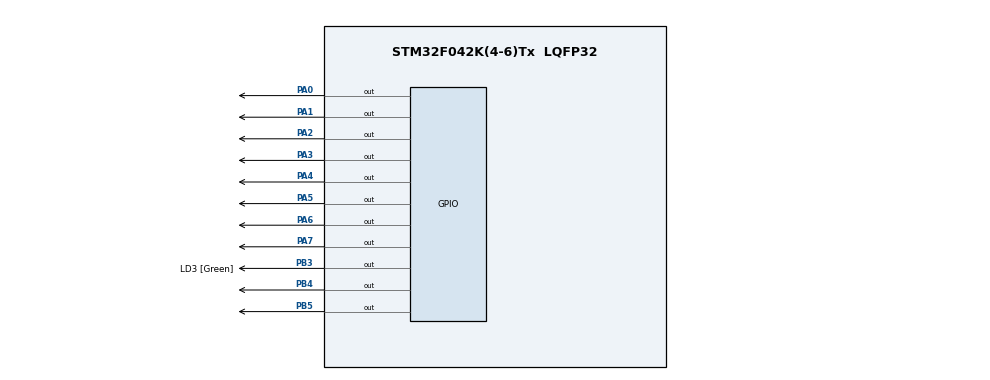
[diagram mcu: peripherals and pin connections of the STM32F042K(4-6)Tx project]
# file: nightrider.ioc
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Mcu.Family=STM32F0
Mcu.Name=STM32F042K(4-6)Tx
Mcu.Package=LQFP32
NVIC.RTC_IRQn=true\:0\:0\:false\:false\:true\:true\:true
PA0.Signal=GPIO_Output
PA1.Signal=GPIO_Output
PA13.GPIO_Label=SWDIO
PA13.Mode=Serial_Wire
PA13.Signal=SYS_SWDIO
PA14.GPIO_Label=SWCLK
PA14.Mode=Serial_Wire
PA14.Signal=SYS_SWCLK
PA2.Signal=GPIO_Output
PA3.Signal=GPIO_Output
PA4.Signal=GPIO_Output
PA5.Signal=GPIO_Output
PA6.Signal=GPIO_Output
PA7.Signal=GPIO_Output
PB3.GPIO_Label=LD3 [Green]
PB3.Signal=GPIO_Output
PB4.Signal=GPIO_Output
PB5.Signal=GPIO_Output
PF0-OSC_IN.GPIO_Label=MCO
PF0-OSC_IN.Mode=HSE-External-Clock-Source
PF0-OSC_IN.Signal=RCC_OSC_IN
ProjectManager.HeapSize=0x200
ProjectManager.StackSize=0x400
ProjectManager.TargetToolchain=Makefile
RTC.Alarm=RTC_ALARM_A
VP_RTC_VS_RTC_Activate.Mode=RTC_Enabled
VP_RTC_VS_RTC_Alarm_A_Intern.Mode=Alarm A
VP_RTC_VS_RTC_Calendar.Mode=RTC_Calendar
board=NUCLEO-F042K6

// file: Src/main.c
/* USER CODE BEGIN Header */
/**
  ******************************************************************************
  * @file           : main.c
  * @brief          : Main program body
  ******************************************************************************
  * @attention
  *
  * <h2><center>&copy; Copyright (c) 2019 STMicroelectronics.
  * All rights reserved.</center></h2>
  *
  * This software component is licensed by ST under BSD 3-Clause license,
  * the "License"; You may not use this file except in compliance with the
  * License. You may obtain a copy of the License at:
  *                        opensource.org/licenses/BSD-3-Clause
  *
  ******************************************************************************
  */
/* USER CODE END Header */

#include "main.h"

/* USER CODE BEGIN Includes */
#include <math.h>
/* USER CODE END Includes */

RTC_HandleTypeDef hrtc;

void SystemClock_Config(void);
static void MX_GPIO_Init(void);
static void MX_RTC_Init(void);

/* USER CODE BEGIN 0 */
RTC_TimeTypeDef sTime;
RTC_DateTypeDef sDate;
RTC_AlarmTypeDef sAlarm;

RTC_TimeTypeDef stampTime;
RTC_DateTypeDef stampDate;

#define NUM_LEDS 10

GPIO_TypeDef *ports[NUM_LEDS] = {
  GPIOA,
  GPIOA,
  GPIOA,
  GPIOA,
  GPIOA,
  GPIOA,
  GPIOA,
  GPIOA,
  GPIOB,
  GPIOB
};

uint16_t pins[NUM_LEDS] = {
  GPIO_PIN_0,
  GPIO_PIN_1,
  GPIO_PIN_3,
  GPIO_PIN_4,
  GPIO_PIN_5,
  GPIO_PIN_6,
  GPIO_PIN_7,
  GPIO_PIN_2,
  GPIO_PIN_4,
  GPIO_PIN_5
};

uint16_t waits[NUM_LEDS];

uint16_t wait = 100;
int direction = 1;

void low(GPIO_TypeDef *port, uint16_t pin) {
  HAL_GPIO_WritePin(port, pin, 0);
  // HAL_Delay(200);
}

void high(GPIO_TypeDef *port, uint16_t pin) {
  HAL_GPIO_WritePin(port, pin, 1);
  // HAL_Delay(200);
}

void blink(GPIO_TypeDef *port, uint16_t pin, uint16_t time) {
  high(port, pin);
  HAL_Delay(time);
  low(port, pin);
}

void getDateTime(void) {
  __disable_irq();
  HAL_RTC_GetTime(&hrtc, &sTime, RTC_FORMAT_BCD);
  HAL_RTC_GetDate(&hrtc, &sDate, RTC_FORMAT_BCD);
  __enable_irq();
}

void setDateTime(void) {
  __disable_irq();
  sTime.Hours = 0x0;
  sTime.Minutes = 0x0;
  sTime.Seconds = 0x0;
  sTime.DayLightSaving = RTC_DAYLIGHTSAVING_NONE;
  sTime.StoreOperation = RTC_STOREOPERATION_RESET;
  if (HAL_RTC_SetTime(&hrtc, &sTime, RTC_FORMAT_BCD) != HAL_OK)
  {
    Error_Handler();
  }
  sDate.WeekDay = RTC_WEEKDAY_MONDAY;
  sDate.Month = RTC_MONTH_JANUARY;
  sDate.Date = 0x1;
  sDate.Year = 0x0;

  if (HAL_RTC_SetDate(&hrtc, &sDate, RTC_FORMAT_BCD) != HAL_OK)
  {
    Error_Handler();
  }
  __enable_irq();
}

void setAlarm(uint8_t minutes) {
  setDateTime();
  sAlarm.AlarmTime.Hours = 0x0;
  sAlarm.AlarmTime.Minutes = 0x0;//minutes;
  sAlarm.AlarmTime.Seconds = 5;
  sAlarm.AlarmTime.SubSeconds = 0x0;
  sAlarm.AlarmTime.DayLightSaving = RTC_DAYLIGHTSAVING_NONE;
  sAlarm.AlarmTime.StoreOperation = RTC_STOREOPERATION_RESET;
  sAlarm.AlarmMask = RTC_ALARMMASK_NONE;
  sAlarm.AlarmSubSecondMask = RTC_ALARMSUBSECONDMASK_ALL;
  sAlarm.AlarmDateWeekDaySel = RTC_ALARMDATEWEEKDAYSEL_DATE;
  sAlarm.AlarmDateWeekDay = 0x1;
  sAlarm.Alarm = RTC_ALARM_A;
  if (HAL_RTC_SetAlarm_IT(&hrtc, &sAlarm, RTC_FORMAT_BCD) != HAL_OK)
  {
    Error_Handler();
  }
}

void enterStandbyMode(void)
{
	/* Enable Power Peripheral */
	__HAL_RCC_PWR_CLK_ENABLE();

	/* Enter STANDBY mode */
	HAL_PWR_EnterSTANDBYMode();
}

#define ea_clock_pin GPIO_PIN_6
#define ea_data_pin GPIO_PIN_5
#define ea_data_port GPIOA
#define latch_time 10

void shiftData(uint8_t data) {
  low(ea_data_port, ea_clock_pin);
  low(ea_data_port, ea_data_pin);

  for(uint8_t ii=7;ii!=0xff;ii--) {
    low(ea_data_port, ea_clock_pin);
    if(data & (1<<ii)) {
      high(ea_data_port, ea_data_pin);
    }
    else {
      low(ea_data_port, ea_data_pin);
    }

    high(ea_data_port, ea_clock_pin);
    // HAL_Delay(latch_time);
    low(ea_data_port, ea_data_pin);
  }
  low(ea_data_port, ea_clock_pin);
  // low(data_port, ea_data_pin);
}

/* USER CODE END 0 */

int main(void)
{
  /* USER CODE BEGIN 1 */
  // calculate the wait times for leds
  // this looks good. perhaps when there are more than 10 leds
  // we will want to lock these values here. keep the middle > 10 at the basement (5,6)
  uint offset = 1;
  for(uint ii=1;ii<=(NUM_LEDS/2);ii++) {
    uint qq = ii + (NUM_LEDS/2)-1;
    waits[qq] = (2 + ceil(2.5 * log10(ii))) * 25;
    waits[qq-offset] = waits[qq];
    offset = offset + 2;
  }
  /* USER CODE END 1 */

  /* MCU Configuration--------------------------------------------------------*/

  /* Reset of all peripherals, Initializes the Flash interface and the Systick. */
  HAL_Init();

  /* Configure the system clock */
  SystemClock_Config();

  /* Initialize all configured peripherals */
  MX_GPIO_Init();
  MX_RTC_Init();
  /* USER CODE BEGIN 2 */

	if(__HAL_PWR_GET_FLAG(PWR_FLAG_SB))
	{
		__HAL_PWR_CLEAR_FLAG(PWR_FLAG_WU | PWR_FLAG_SB);
	}

  /* USER CODE END 2 */

  /* Infinite loop */
  /* USER CODE BEGIN WHILE */
  uint8_t data = 1;
  uint8_t left = 1;
  while (1)
  {
    if(data == 0x80) {
      left = 0;
    }
    if(data == 0x01) {
      left = 1;
    }
    // shiftData((data && 0xff00) >> 8);
    shiftData(data);
    if(left == 1) {
      data = data << 1;
    } else {
      data = data >> 1;
    }
    HAL_Delay(500);
    // for(uint ii=0;ii<NUM_LEDS;ii++) {
    //   blink(ports[ii], pins[ii], waits[ii]);
    // }
    // for (int ii = (NUM_LEDS-1); ii >= 0; ii--)
    // {
    //   blink(ports[ii], pins[ii], waits[ii]);
    // }
    // setAlarm(1);
    // enterStandbyMode();
    /* USER CODE END WHILE */

  }
}

void SystemClock_Config(void)
{
  RCC_OscInitTypeDef RCC_OscInitStruct = {0};
  RCC_ClkInitTypeDef RCC_ClkInitStruct = {0};
  RCC_PeriphCLKInitTypeDef PeriphClkInit = {0};

  /** Initializes the CPU, AHB and APB busses clocks
  */
  RCC_OscInitStruct.OscillatorType = RCC_OSCILLATORTYPE_HSI|RCC_OSCILLATORTYPE_LSI;
  RCC_OscInitStruct.HSIState = RCC_HSI_ON;
  RCC_OscInitStruct.HSICalibrationValue = RCC_HSICALIBRATION_DEFAULT;
  RCC_OscInitStruct.LSIState = RCC_LSI_ON;
  RCC_OscInitStruct.PLL.PLLState = RCC_PLL_NONE;
  if (HAL_RCC_OscConfig(&RCC_OscInitStruct) != HAL_OK)
  {
    Error_Handler();
  }
  /** Initializes the CPU, AHB and APB busses clocks
  */
  RCC_ClkInitStruct.ClockType = RCC_CLOCKTYPE_HCLK|RCC_CLOCKTYPE_SYSCLK
                              |RCC_CLOCKTYPE_PCLK1;
  RCC_ClkInitStruct.SYSCLKSource = RCC_SYSCLKSOURCE_HSI;
  RCC_ClkInitStruct.AHBCLKDivider = RCC_SYSCLK_DIV1;
  RCC_ClkInitStruct.APB1CLKDivider = RCC_HCLK_DIV1;

  if (HAL_RCC_ClockConfig(&RCC_ClkInitStruct, FLASH_LATENCY_0) != HAL_OK)
  {
    Error_Handler();
  }
  PeriphClkInit.PeriphClockSelection = RCC_PERIPHCLK_RTC;
  PeriphClkInit.RTCClockSelection = RCC_RTCCLKSOURCE_LSI;
  if (HAL_RCCEx_PeriphCLKConfig(&PeriphClkInit) != HAL_OK)
  {
    Error_Handler();
  }
}

static void MX_RTC_Init(void)
{

  RTC_TimeTypeDef sTime = {0};
  RTC_DateTypeDef sDate = {0};
  RTC_AlarmTypeDef sAlarm = {0};

  /** Initialize RTC Only
  */
  hrtc.Instance = RTC;
  hrtc.Init.HourFormat = RTC_HOURFORMAT_24;
  hrtc.Init.AsynchPrediv = 127;
  hrtc.Init.SynchPrediv = 255;
  hrtc.Init.OutPut = RTC_OUTPUT_DISABLE;
  hrtc.Init.OutPutPolarity = RTC_OUTPUT_POLARITY_HIGH;
  hrtc.Init.OutPutType = RTC_OUTPUT_TYPE_OPENDRAIN;
  if (HAL_RTC_Init(&hrtc) != HAL_OK)
  {
    Error_Handler();
  }

  /** Initialize RTC and set the Time and Date
  */
  sTime.Hours = 0x0;
  sTime.Minutes = 0x0;
  sTime.Seconds = 0x0;
  sTime.DayLightSaving = RTC_DAYLIGHTSAVING_NONE;
  sTime.StoreOperation = RTC_STOREOPERATION_RESET;
  if (HAL_RTC_SetTime(&hrtc, &sTime, RTC_FORMAT_BCD) != HAL_OK)
  {
    Error_Handler();
  }
  sDate.WeekDay = RTC_WEEKDAY_MONDAY;
  sDate.Month = RTC_MONTH_JANUARY;
  sDate.Date = 0x1;
  sDate.Year = 0x0;

  if (HAL_RTC_SetDate(&hrtc, &sDate, RTC_FORMAT_BCD) != HAL_OK)
  {
    Error_Handler();
  }
  /** Enable the Alarm A
  */
  sAlarm.AlarmTime.Hours = 0x0;
  sAlarm.AlarmTime.Minutes = 0x0;
  sAlarm.AlarmTime.Seconds = 0x0;
  sAlarm.AlarmTime.SubSeconds = 0x0;
  sAlarm.AlarmTime.DayLightSaving = RTC_DAYLIGHTSAVING_NONE;
  sAlarm.AlarmTime.StoreOperation = RTC_STOREOPERATION_RESET;
  sAlarm.AlarmMask = RTC_ALARMMASK_NONE;
  sAlarm.AlarmSubSecondMask = RTC_ALARMSUBSECONDMASK_ALL;
  sAlarm.AlarmDateWeekDaySel = RTC_ALARMDATEWEEKDAYSEL_DATE;
  sAlarm.AlarmDateWeekDay = 0x1;
  sAlarm.Alarm = RTC_ALARM_A;
  if (HAL_RTC_SetAlarm_IT(&hrtc, &sAlarm, RTC_FORMAT_BCD) != HAL_OK)
  {
    Error_Handler();
  }

}

static void MX_GPIO_Init(void)
{
  GPIO_InitTypeDef GPIO_InitStruct = {0};

  /* GPIO Ports Clock Enable */
  __HAL_RCC_GPIOF_CLK_ENABLE();
  __HAL_RCC_GPIOA_CLK_ENABLE();
  __HAL_RCC_GPIOB_CLK_ENABLE();

  /*Configure GPIO pin Output Level */
  HAL_GPIO_WritePin(GPIOA, GPIO_PIN_0|GPIO_PIN_1|GPIO_PIN_2|GPIO_PIN_3
                          |GPIO_PIN_4|GPIO_PIN_5|GPIO_PIN_6|GPIO_PIN_7, GPIO_PIN_RESET);

  /*Configure GPIO pin Output Level */
  HAL_GPIO_WritePin(GPIOB, LD3_Pin|GPIO_PIN_4|GPIO_PIN_5, GPIO_PIN_RESET);

  /*Configure GPIO pins : PA0 PA1 PA2 PA3
                           PA4 PA5 PA6 PA7 */
  GPIO_InitStruct.Pin = GPIO_PIN_0|GPIO_PIN_1|GPIO_PIN_2|GPIO_PIN_3
                          |GPIO_PIN_4|GPIO_PIN_5|GPIO_PIN_6|GPIO_PIN_7;
  GPIO_InitStruct.Mode = GPIO_MODE_OUTPUT_PP;
  GPIO_InitStruct.Pull = GPIO_NOPULL;
  GPIO_InitStruct.Speed = GPIO_SPEED_FREQ_LOW;
  HAL_GPIO_Init(GPIOA, &GPIO_InitStruct);

  /*Configure GPIO pins : LD3_Pin PB4 PB5 */
  GPIO_InitStruct.Pin = LD3_Pin|GPIO_PIN_4|GPIO_PIN_5;
  GPIO_InitStruct.Mode = GPIO_MODE_OUTPUT_PP;
  GPIO_InitStruct.Pull = GPIO_NOPULL;
  GPIO_InitStruct.Speed = GPIO_SPEED_FREQ_LOW;
  HAL_GPIO_Init(GPIOB, &GPIO_InitStruct);

}

void Error_Handler(void)
{
}

/************************ (C) COPYRIGHT STMicroelectronics *****END OF FILE****/
